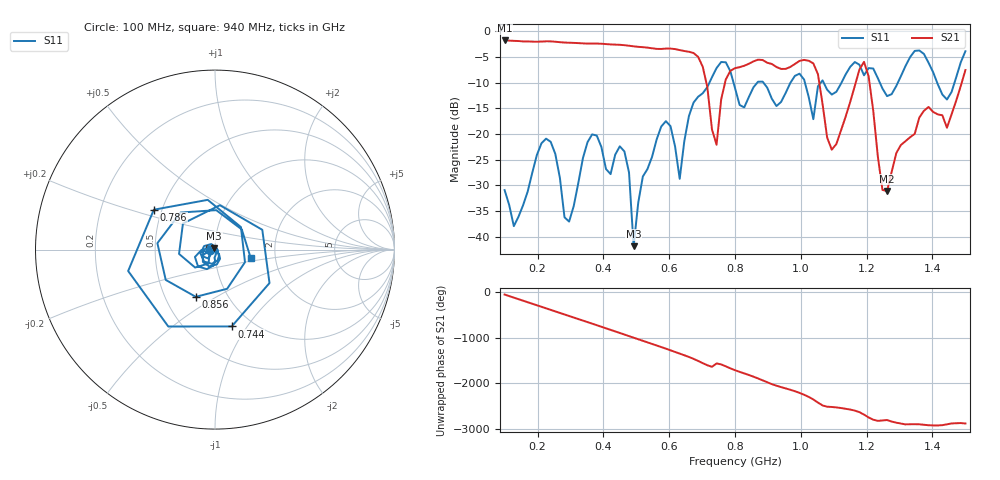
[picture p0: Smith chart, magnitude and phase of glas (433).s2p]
! NanoVNA-App
! Date: 2025-09-25 15:58:51
! Start: 100MHz Stop: 1,5GHz Points: 101
! S-Parameter data: F S11 S21 S12 S22
# Hz S RI R 50
!  Frequency  S11_Real  S11_Imag  S21_Real  S21_Imag  S12_Real  S12_Imag  S22_Real  S22_Imag
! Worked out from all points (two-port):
!   101 points, 100 MHz to 1.5 GHz, reference 50 ohm
!   highest |S21| = -1.80 dB at 100 MHz (marker M1); lowest = -31.1 dB at 1.262 GHz (marker M2)
!   |S21| within 3 dB of the highest: start of sweep to 684.3 MHz
!   lowest |S11| = -41.9 dB at 492 MHz (marker M3), VSWR 1.02, Z = 49.5 + j0.635 ohm
!   |S11| at or under -10 dB: start of sweep to 722.4 MHz; 795.5 MHz to 867.9 MHz (72.43 MHz wide, 8.71 % of centre); 886.2 MHz to 968.8 MHz (82.64 MHz wide, 8.91 % of centre) (the widest 3 of 7)
!   S12 and S22 are empty: the file has one direction only
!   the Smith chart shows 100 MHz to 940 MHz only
!   S11 on the Smith chart (normalised r, x): 100 MHz: 0.95, -0.01; 744 MHz: 0.80, -0.85; 786 MHz: 0.45, +0.24; 856 MHz: 0.71, -0.41; 940 MHz: 1.49, -0.15
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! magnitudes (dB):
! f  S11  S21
! 100 MHz  -30.9  -1.8
! 128 MHz  -38.0  -1.9
! 226 MHz  -20.9  -2.0
! 296 MHz  -37.1  -2.2
! 338 MHz  -24.7  -2.4
! 464 MHz  -23.4  -2.7
! 492 MHz  -41.9  -2.9
! 576 MHz  -18.6  -3.5
! 632 MHz  -28.7  -3.7
! 702 MHz  -12.1  -6.9
! 744 MHz  -7.2  -22.1
! 786 MHz  -7.8  -7.7
! 800 MHz  -11.1  -7.2
! 856 MHz  -10.9  -5.9
! 940 MHz  -13.8  -7.3
! 996 MHz  -8.3  -5.8
! 1.038 GHz  -17.1  -6.3
! 1.094 GHz  -12.3  -23.1
! 1.192 GHz  -8.6  -6.0
! 1.262 GHz  -12.6  -31.1
! 1.276 GHz  -12.3  -27.4
! 1.5 GHz  -3.9  -7.6
